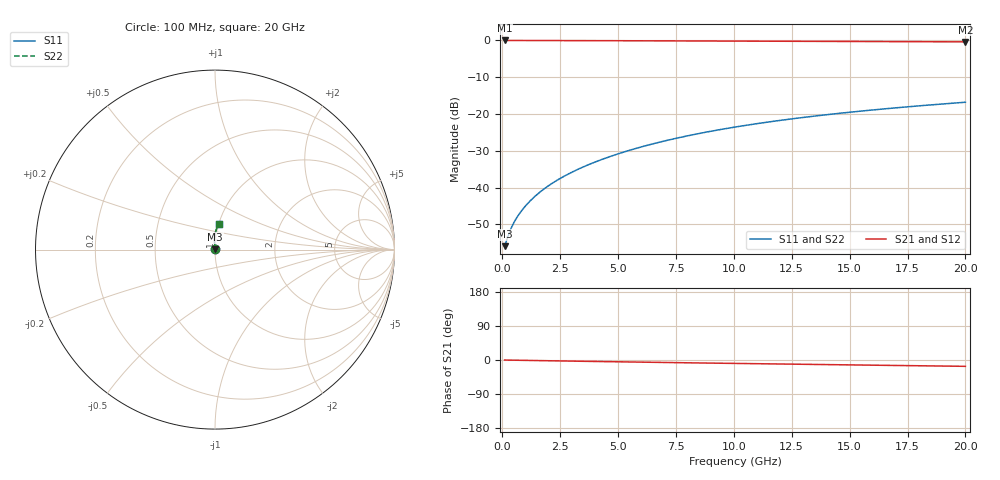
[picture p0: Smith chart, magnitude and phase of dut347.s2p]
! Touchstone file exported from HFSS 2024.1.0
!  File:  C:/UserFiles/LocalFiles/RDL_TSV_Batchsim/temp_RDL_bottom_347_1779612197.aedt
!  Generated:  04:45:48 PM May 24, 2026
!  Design:  RDL_bottom
!  Project:  temp_RDL_bottom_347_1779612197
!  Setup:  Setup1
!  Solution:  Sweep
! Variables:
!  dtsv = 10.80580581um
!  hbump = 3um
!  htsv = 56.49um
!  ldown = 244.01um
!  lrdl = 100um
!  p = 40
!  p1 = 43.16um
!  rhole = 1um
!  t = 450um
!  tdown = 2.79um
!  trdl = 3.915915916um
!  wdown = 27.32um
!  wrdl = 20um
# GHz S MA R 50.000000
! Terminal data exported
! Port[1] = RDL1_T1
! Port[2] = RDL1_T2
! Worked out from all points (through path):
!   200 points, 100 MHz to 20 GHz, reference 50 ohm
!   highest |S21| = -0.01 dB at 100 MHz (marker M1); lowest = -0.4 dB at 20 GHz (marker M2)
!   group delay of S21, straight-line fit = 2.28 ps
!   lowest |S11| = -55.9 dB at 100 MHz (marker M3), VSWR 1.00, Z = 50.1 + j0.0644 ohm
!   |S11| at or under -10 dB: start of sweep to end of sweep
!   |S22| runs from -55.9 to -16.8 dB; largest |S21 - S12| = 3.1e-15
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0.1  0.001595 23.7  0.9985 -0.1  0.9985 -0.1  0.001595 23.7
! Gamma 0 0 0 0
! Port Impedance 50 0 50 0
0.3  0.002425 48.4  0.9983 -0.3  0.9983 -0.3  0.002425 48.4
0.4  0.002881 54.3  0.9982 -0.4  0.9982 -0.4  0.002881 54.3
0.5  0.003332 58.7  0.9981 -0.5  0.9981 -0.5  0.003332 58.7
0.6  0.003781 62.3  0.998 -0.6  0.998 -0.6  0.003781 62.3
0.8  0.004685 67.8  0.9978 -0.8  0.9978 -0.8  0.004685 67.8
1  0.00561 71.9  0.9977 -1.0  0.9977 -1.0  0.00561 71.9
1.2  0.006561 75.2  0.9975 -1.2  0.9975 -1.2  0.006561 75.2
1.7  0.009044 81.0  0.9969 -1.7  0.9969 -1.7  0.009044 81.0
2.2  0.01166 84.8  0.9962 -2.2  0.9962 -2.2  0.01166 84.8
2.8  0.01498 88.0  0.9952 -2.8  0.9952 -2.8  0.01498 88.0
3.5  0.01908 90.4  0.9938 -3.4  0.9938 -3.4  0.01908 90.4
4.2  0.02344 92.1  0.9923 -4.1  0.9923 -4.1  0.02344 92.1
5  0.0287 93.3  0.9903 -4.8  0.9903 -4.8  0.0287 93.2
5.9  0.03493 93.9  0.988 -5.6  0.988 -5.6  0.03493 93.9
6.8  0.04144 94.0  0.9856 -6.4  0.9856 -6.4  0.04144 94.0
8.4  0.05352 93.4  0.9814 -7.7  0.9814 -7.7  0.05352 93.4
10.1  0.06678 92.2  0.9771 -9.1  0.9771 -9.1  0.06677 92.2
11.7  0.07944 90.7  0.9733 -10.4  0.9733 -10.4  0.07943 90.6
13.4  0.09292 88.9  0.9694 -11.7  0.9694 -11.7  0.09292 88.9
16.7  0.1189 85.4  0.9625 -14.2  0.9625 -14.2  0.1189 85.4
20  0.1443 82.0  0.9559 -16.7  0.9559 -16.7  0.1443 82.0
